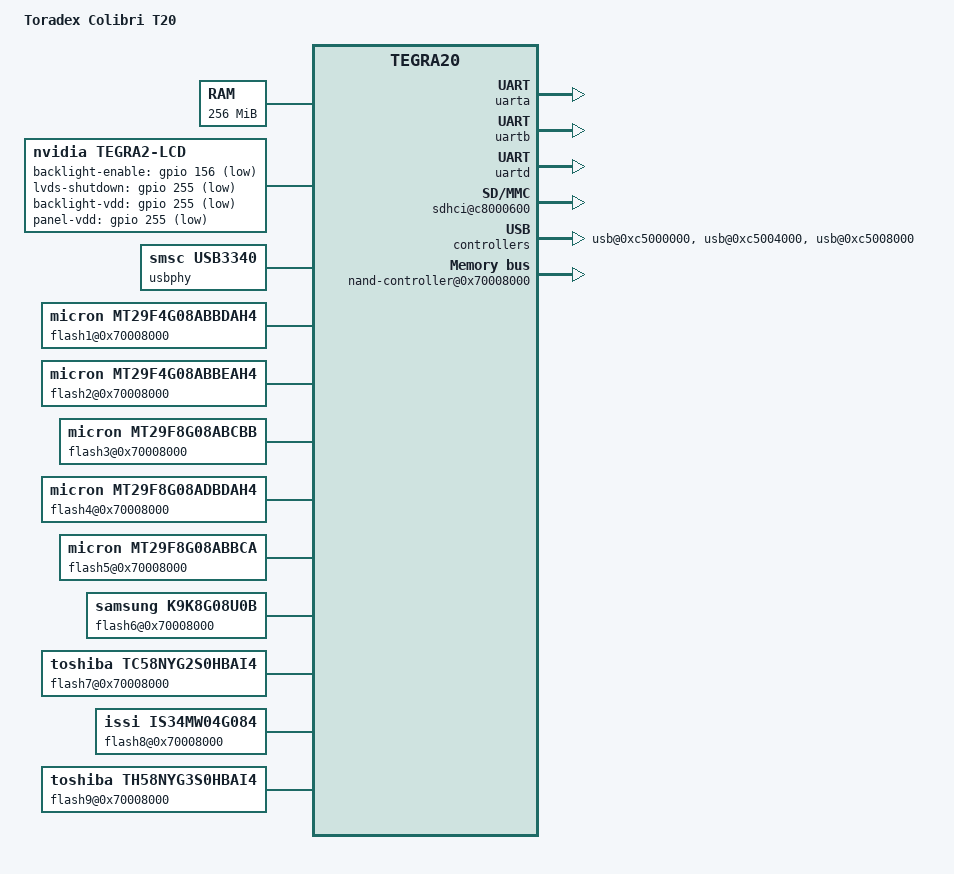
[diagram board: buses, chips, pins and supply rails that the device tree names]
/dts-v1/;

/memreserve/ 0x0c000000 0x04000000;
/include/ "../../nvidia/seaboard/tegra250.dtsi"

/ {
	model = "Toradex Colibri T20";
	compatible = "toradex,colibri_t20", "nvidia,tegra20";

	config {
		machine-arch-id = <3323>;
	};

	aliases {
		console = "/serial@70006000";
		usb0 = "/usb@0xc5004000";
		usb1 = "/usb@0xc5008000";
		usb2 = "/usb@0xc5000000";

		sdmmc0 = "/sdhci@c8000600";

		i2c0 = "/i2c@0x7000d000";
		i2c1 = "/i2c@0x7000c000";
		i2c2 = "/i2c@0x7000c400";
		i2c3 = "/i2c@0x7000c500";
	};

//will be auto detected and fixedup
	memory {
		device_type = "memory";
		reg = <0x00000000 0x10000000>;
	};

	uarta: serial@70006000 {
		status = "ok";
		clock-frequency = <216000000>;
	};

	uartb: serial@70006040 {
		status = "ok";
		clock-frequency = <216000000>;
	};

	uartd: serial@70006300 {
		status = "ok";
		clock-frequency = <216000000>;
	};

	sdhci@c8000600 {
		status = "ok";
		width = <4>;	/* width of SDIO port */
		removable = <1>;
		/* Parameter 3 bit 0:1=output, 0=input; bit 1:1=high, 0=low */
		cd-gpio = <&gpio 23 0>; /* card detect, gpio PC7 */
	};

	lcd {
		compatible = "nvidia,tegra2-lcd";
		width = <640>;
		height = <480>;
		bits_per_pixel = <16>;
		pwfm = <&pwfm2>;
		display = <&display1>;
		/* frame-buffer location = top of memory - carveout - fb */
		frame-buffer_512 = <0x17400000>; /* 512M - 128M - 12M */
		frame-buffer_256 = <0x09400000>; /* 256M -  96M - 12M */

		pixel_clock = <25175000>;
		/* Timing: ref_to_sync, sync_width, back_porch, front_porch */
		horiz_timing = <0 96 48 16>;
		vert_timing = <1 2 31 11>;

		/* 800x480@60 (e.g. EDT ET070080DH6)
		pixel_clock = <32460000>;
		width = <800>;
		height = <480>;		 
		horiz_timing = <1 64 128 64>;
		vert_timing = <1 3 22 20>;
		*/

		/* 1024x768 timings
		pixel_clock = <72000000>;
		width = <1024>;
		height = <768>;		 
		horiz_timing = <0 136 160 24>;
		vert_timing = <1 6 29 3>; 
		*/

		/* Parameter 3 bit 0:1=output, 0=input; bit 1:1=high, 0=low */
		backlight-enable = <&gpio 156 1>; /* PT4 - SODIMM 71: BL_ON,
			requires manual untristating respective pin group! */
		lvds-shutdown = <&gpio 255 1>;
		backlight-vdd = <&gpio 255 1>;
		panel-vdd = <&gpio 255 1>;

		/*
		 * Panel required timings
		 * Timing 1: delay between panel_vdd-rise and data-rise
		 * Timing 2: delay between data-rise and backlight_vdd-rise
		 * Timing 3: delay between backlight_vdd and pwm-rise
		 * Timing 4: delay between pwm-rise and backlight_en-rise
		 */
		panel-timings = <0 0 0 0>;
	};

	/* EHCI instance 0: USB1_DP/N -> USBC_P/N */
	usb@0xc5000000 {
		status = "ok";
		host-mode = <1>;
	};

	/* EHCI instance 1: ULPI PHY -> ASIX ETH */
	usb@0xc5004000 {
		status = "ok";
		host-mode = <0>;
	};

	usbphy: usbphy@0 {
		compatible = "smsc,usb3340";
		status = "ok";
	};

	/* EHCI instance 2: USB3_DP/N -> USBH_P/N */
	usb@0xc5008000 {
		status = "ok";
		utmi = <&usbphy>;
		host-mode = <0>;
	};

	/* Colibri T20 256MB V1.2a intermediate */
	flash1@0x70008000 {
		/*
		 * Auto detection uses two hex digits each of vendor ID,
		 * device ID and fourth byte of read ID separated by commas
		 */
		compatible = "micron,MT29F4G08ABBDAH4", "2C,AC,15";
		controller = <&nand>;

		/* How many bytes for data area */
		page-data-bytes = <2048>;

		/* How many ECC bytes to be generated for tag bytes */
		tag-ecc-bytes = <9>;

		/* How many tag bytes in spare area */
		tag-bytes = <48>;

		/* How many ECC bytes for data area */
		data-ecc-bytes = <72>;

		skipped-spare-bytes = <4>;

		/*
		 * How many bytes in spare area
		 * spare area = skipped bytes + ECC bytes of data area
		 * + tag bytes + ECC bytes of tag bytes
		 */
		page-spare-bytes = <64>;

		/*
		 * MAX_TRP_TREA:
		 *  non-EDO mode: value (in ns) = Max(tRP, tREA) + 6ns
		 *  EDO mode: value (in ns) = tRP timing
		 * TRH: tREH timing
		 *
		 * Timing values: MAX_TRP_TREA, TWB, Max(tCS, tCH, tALS, tALH),
		 *	TWHR, Max(tCS, tCH, tALS, tALH), TWH, TWP, TRH, TADL
		 */
		timing = <12 100 20 80 20 10 12 10 70>;
	};

	/* Colibri T20 256MB V1.2a new and Colibri T20 256MB IT V1.2b */
	flash2@0x70008000 {
		compatible = "micron,MT29F4G08ABBEAH4", "2C,AC,26",
			     "micron,MT29F4G08ABBFAH4";
		controller = <&nand>;
		page-data-bytes = <4096>;
		tag-ecc-bytes = <9>;
		tag-bytes = <48>;
		data-ecc-bytes = <72>;
		skipped-spare-bytes = <4>;
		page-spare-bytes = <128>;
		timing = <20 100 25 80 25 10 15 10 100>;
	};

	/* Colibri T20 V1.1 aka old */
	flash3@0x70008000 {
		compatible = "micron,MT29F8G08ABCBB", "2C,38,26";
		controller = <&nand>;
		page-data-bytes = <4096>;
		tag-ecc-bytes = <9>;
		tag-bytes = <48>;
		data-ecc-bytes = <72>;
		skipped-spare-bytes = <4>;
		page-spare-bytes = <128>;
		timing = <12 100 20 60 15 10 12 10 70>;
	};

	/* Colibri T20 512MB V1.2a intermediate */
	flash4@0x70008000 {
		compatible = "micron,MT29F8G08ADBDAH4", "2C,A3,15";
		controller = <&nand>;
		page-data-bytes = <2048>;
		tag-ecc-bytes = <9>;
		tag-bytes = <48>;
		data-ecc-bytes = <72>;
		skipped-spare-bytes = <4>;
		page-spare-bytes = <64>;
		timing = <12 100 20 80 20 10 12 10 70>;
	};

	/* Colibri T20 512MB V1.2a new */
	flash5@0x70008000 {
		compatible = "micron,MT29F8G08ABBCA", "2C,A3,26";
		controller = <&nand>;
		page-data-bytes = <4096>;
		tag-ecc-bytes = <9>;
		tag-bytes = <48>;
		data-ecc-bytes = <72>;
		skipped-spare-bytes = <4>;
		page-spare-bytes = <128>;
		timing = <15 100 25 80 25 10 15 10 100>;
	};

	/* Colibri T20 512MB 3.3V TSOP test */
	flash6@0x70008000 {
		compatible = "samsung,K9K8G08U0B", "EC,D3,95";
		controller = <&nand>;
		page-data-bytes = <2048>;
		tag-ecc-bytes = <9>;
		tag-bytes = <48>;
		data-ecc-bytes = <72>;
		skipped-spare-bytes = <4>;
		page-spare-bytes = <64>;
		timing = <20 100 20 60 20 10 12 10 70>;
	};

	/* Colibri T20 256MB IT V1.2b */
	flash7@0x70008000 {
		compatible = "toshiba,TC58NYG2S0HBAI4", "98,AC,26";
		controller = <&nand>;
		page-data-bytes = <4096>;
		tag-ecc-bytes = <9>;
		tag-bytes = <48>;
		data-ecc-bytes = <72>;
		skipped-spare-bytes = <4>;
		page-spare-bytes = <128>;
		timing = <26 100 20 60 20 10 12 10 70>;
	};

	/* Colibri T20 256MB IT V1.2b */
	flash8@0x70008000 {
		compatible = "issi,IS34MW04G084", "C8,AC,15";
		controller = <&nand>;
		page-data-bytes = <2048>;
		tag-ecc-bytes = <9>;
		tag-bytes = <48>;
		data-ecc-bytes = <72>;
		skipped-spare-bytes = <4>;
		page-spare-bytes = <64>;
		timing = <36 100 35 60 35 15 25 15 100>;
	};

	/* Colibri T20 512MB IT V1.2b */
	flash9@0x70008000 {
		compatible = "toshiba,TH58NYG3S0HBAI4", "98,A3,26";
		controller = <&nand>;
		page-data-bytes = <4096>;
		tag-ecc-bytes = <9>;
		tag-bytes = <48>;
		data-ecc-bytes = <72>;
		skipped-spare-bytes = <4>;
		page-spare-bytes = <128>;
		timing = <26 100 20 60 20 10 12 10 70>;
	};

	nand-controller@0x70008000 {
		status = "ok";
		wp-gpio = <&gpio 144 3>; /* Port S = 18 bit = 0: 18 * 8 + 0 */
		width = <8>;
	};
};
